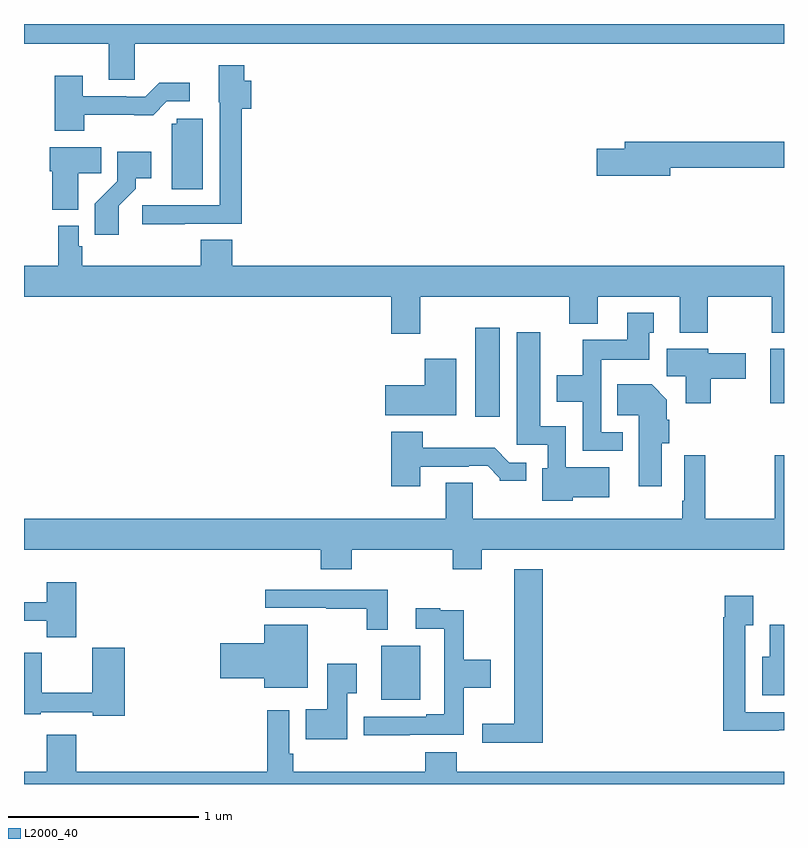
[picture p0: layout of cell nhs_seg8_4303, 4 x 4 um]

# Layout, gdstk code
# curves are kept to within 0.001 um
import gdstk
lib = gdstk.Library(unit=1e-6, precision=1e-09)
def R(c, l, rs):  # rectangles x0, y0, x1, y1
    for r in rs: c.add(gdstk.rectangle(r[:2], r[2:], *l))
def P(c, l, *ps):  # polygons
    for p in ps: c.add(gdstk.Polygon(p, *l))
L2000_40 = (2000, 40)

nhs_seg8_4303 = lib.new_cell('nhs_seg8_4303')
R(nhs_seg8_4303, L2000_40, [(374.879,1150.343,375.085,1150.627), (375.374,1151.832,375.505,1152.301), (376.928,1151.904,377,1152.19)])
P(nhs_seg8_4303, L2000_40, [(373.584,1153.796),(377,1153.796),(377,1153.9),(373,1153.9),(373,1153.796),(373.445,1153.796),(373.445,1153.606),(373.584,1153.606)],
  [(373.847,1152.849),(374.147,1152.849),(374.147,1153.454),(374.195,1153.454),(374.195,1153.602),(374.16,1153.602),(374.16,1153.684),(374.024,1153.684),(374.024,1153.488),(374.031,1153.488),(374.031,1152.945),(373.623,1152.945),(373.623,1152.847),(373.847,1152.847)],
  [(373.317,1153.422),(373.679,1153.421),(373.752,1153.494),(373.873,1153.494),(373.873,1153.591),(373.711,1153.591),(373.638,1153.518),(373.538,1153.518),(373.538,1153.521),(373.309,1153.521),(373.309,1153.627),(373.162,1153.627),(373.162,1153.337),(373.317,1153.337)],
  [(373.942,1153.401),(373.803,1153.401),(373.803,1153.374),(373.778,1153.374),(373.778,1153.03),(373.942,1153.03)],
  [(376.402,1153.144),(377,1153.144),(377,1153.28),(376.163,1153.28),(376.163,1153.244),(376.014,1153.244),(376.014,1153.102),(376.402,1153.102)],
  [(373.285,1153.114),(373.406,1153.114),(373.406,1153.252),(373.136,1153.252),(373.136,1153.125),(373.148,1153.125),(373.148,1152.923),(373.285,1152.923)],
  [(373.498,1152.943),(373.588,1153.033),(373.588,1153.088),(373.669,1153.088),(373.669,1153.228),(373.491,1153.228),(373.491,1153.073),(373.372,1152.954),(373.372,1152.792),(373.498,1152.792)],
  [(375.085,1152.464),(375.869,1152.464),(375.869,1152.323),(376.021,1152.323),(376.021,1152.464),(376.451,1152.464),(376.451,1152.275),(376.599,1152.275),(376.599,1152.464),(376.936,1152.464),(376.936,1152.275),(377,1152.275),(377,1152.628),(374.096,1152.628),(374.096,1152.764),(373.931,1152.764),(373.931,1152.628),(373.307,1152.628),(373.307,1152.729),(373.287,1152.729),(373.287,1152.838),(373.179,1152.838),(373.179,1152.628),(373,1152.628),(373,1152.464),(374.933,1152.464),(374.933,1152.27),(375.085,1152.27)],
  [(376.15,1151.751),(376.038,1151.751),(376.038,1152.134),(376.291,1152.134),(376.291,1152.276),(376.315,1152.276),(376.315,1152.379),(376.175,1152.379),(376.175,1152.238),(375.94,1152.238),(375.94,1152.052),(375.803,1152.052),(375.803,1151.912),(375.942,1151.912),(375.942,1151.655),(376.15,1151.655)],
  [(375.888,1151.408),(376.081,1151.408),(376.081,1151.566),(375.852,1151.566),(375.852,1151.782),(375.718,1151.782),(375.718,1152.277),(375.593,1152.277),(375.593,1151.685),(375.756,1151.685),(375.756,1151.562),(375.728,1151.562),(375.728,1151.39),(375.888,1151.39)],
  [(376.614,1152.032),(376.798,1152.032),(376.798,1152.166),(376.602,1152.166),(376.602,1152.19),(376.382,1152.19),(376.382,1152.046),(376.484,1152.046),(376.484,1151.904),(376.614,1151.904)],
  [(375.274,1152.139),(375.11,1152.139),(375.11,1151.998),(374.901,1151.998),(374.901,1151.84),(375.274,1151.84)],
  [(376.357,1151.694),(376.397,1151.694),(376.397,1151.816),(376.384,1151.816),(376.384,1151.923),(376.303,1152.004),(376.123,1152.004),(376.123,1151.84),(376.235,1151.84),(376.235,1151.466),(376.357,1151.466)],
  [(375.085,1151.571),(375.341,1151.571),(375.341,1151.574),(375.44,1151.574),(375.504,1151.51),(375.504,1151.495),(375.643,1151.495),(375.643,1151.592),(375.555,1151.592),(375.477,1151.671),(375.098,1151.671),(375.098,1151.755),(374.933,1151.755),(374.933,1151.466),(375.085,1151.466)],
  [(374.726,1151.132),(375.257,1151.132),(375.257,1151.03),(375.409,1151.03),(375.409,1151.132),(377,1151.132),(377,1151.629),(376.95,1151.629),(376.95,1151.296),(376.585,1151.296),(376.585,1151.629),(376.476,1151.629),(376.476,1151.392),(376.464,1151.392),(376.464,1151.296),(375.361,1151.296),(375.361,1151.486),(375.221,1151.486),(375.221,1151.296),(373,1151.296),(373,1151.132),(374.561,1151.132),(374.561,1151.03),(374.726,1151.03)],
  [(375.731,1151.029),(375.581,1151.029),(375.581,1150.217),(375.411,1150.217),(375.411,1150.118),(375.731,1150.118)],
  [(373.274,1150.963),(373.121,1150.963),(373.121,1150.857),(373,1150.857),(373,1150.76),(373.119,1150.76),(373.119,1150.673),(373.274,1150.673)],
  [(374.914,1150.923),(374.271,1150.923),(374.271,1150.827),(374.59,1150.827),(374.59,1150.822),(374.805,1150.822),(374.805,1150.712),(374.914,1150.712)],
  [(376.973,1150.182),(377,1150.182),(377,1150.278),(376.797,1150.278),(376.797,1150.735),(376.837,1150.735),(376.837,1150.891),(376.689,1150.891),(376.689,1150.778),(376.681,1150.778),(376.681,1150.181),(376.973,1150.181)],
  [(375.029,1150.158),(375.314,1150.158),(375.314,1150.406),(375.457,1150.406),(375.457,1150.554),(375.314,1150.554),(375.314,1150.814),(375.191,1150.814),(375.191,1150.825),(375.063,1150.825),(375.063,1150.716),(375.213,1150.716),(375.213,1150.267),(375.116,1150.267),(375.116,1150.254),(374.787,1150.254),(374.787,1150.157),(375.029,1150.157)],
  [(374.494,1150.738),(374.264,1150.738),(374.264,1150.64),(374.034,1150.64),(374.034,1150.457),(374.264,1150.457),(374.264,1150.406),(374.494,1150.406)],
  [(377,1150.738),(376.925,1150.738),(376.925,1150.57),(376.886,1150.57),(376.886,1150.367),(377,1150.367)],
  [(373.529,1150.618),(373.358,1150.618),(373.358,1150.379),(373.094,1150.379),(373.094,1150.591),(373,1150.591),(373,1150.266),(373.087,1150.266),(373.087,1150.278),(373.362,1150.278),(373.362,1150.258),(373.529,1150.258)],
  [(374.701,1150.378),(374.752,1150.378),(374.752,1150.534),(374.597,1150.534),(374.597,1150.294),(374.482,1150.294),(374.482,1150.136),(374.701,1150.136)],
  [(377,1149.964),(375.278,1149.964),(375.278,1150.066),(375.113,1150.066),(375.113,1149.964),(374.417,1149.964),(374.417,1150.06),(374.397,1150.06),(374.397,1150.288),(374.281,1150.288),(374.281,1149.964),(373.274,1149.964),(373.274,1150.159),(373.121,1150.159),(373.121,1149.964),(373,1149.964),(373,1149.9),(377,1149.9)])

lib.write_gds('nhs_seg8_4303.gds')
